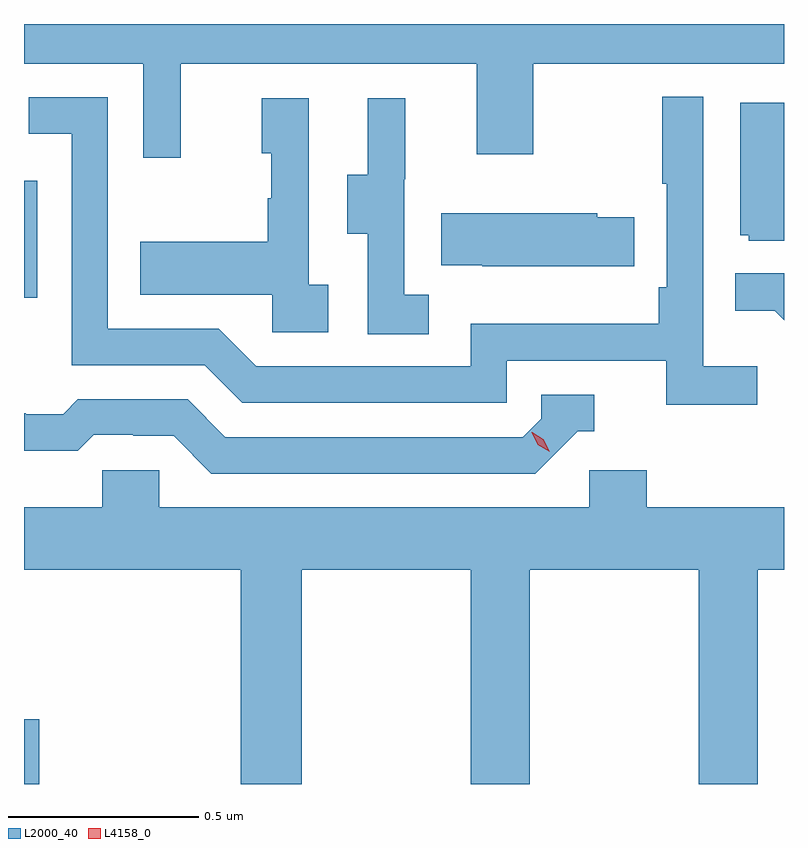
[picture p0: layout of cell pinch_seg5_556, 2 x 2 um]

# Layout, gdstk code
import gdstk
lib = gdstk.Library(unit=1e-6, precision=1e-09)
def R(c, l, rs):  # rectangles x0, y0, x1, y1
    for r in rs: c.add(gdstk.rectangle(r[:2], r[2:], *l))
def P(c, l, *ps):  # polygons
    for p in ps: c.add(gdstk.Polygon(p, *l))
L2000_40 = (2000, 40)
L4158_0 = (4158, 0)

pinch_seg5_556 = lib.new_cell('pinch_seg5_556')
R(pinch_seg5_556, L2000_40, [(969.985,841.544,970.025,841.714), (969.985,842.823,970.02,843.132)])
P(pinch_seg5_556, L2000_40, [(970.397,843.44),(971.177,843.44),(971.177,843.201),(971.325,843.201),(971.325,843.44),(971.985,843.44),(971.985,843.544),(969.985,843.544),(969.985,843.44),(970.299,843.44),(970.299,843.192),(970.397,843.192)],
  [(971.914,842.644),(971.772,842.644),(971.772,843.352),(971.664,843.352),(971.664,843.124),(971.676,843.124),(971.676,842.851),(971.656,842.851),(971.656,842.755),(971.16,842.755),(971.16,842.643),(970.596,842.643),(970.497,842.742),(970.206,842.742),(970.206,843.351),(969.997,843.351),(969.997,843.255),(970.11,843.255),(970.11,842.646),(970.46,842.646),(970.559,842.547),(971.256,842.547),(971.256,842.658),(971.675,842.658),(971.675,842.542),(971.914,842.542)],
  [(970.786,842.858),(970.734,842.858),(970.734,843.349),(970.61,843.349),(970.61,843.204),(970.636,843.204),(970.636,843.086),(970.626,843.086),(970.626,842.971),(970.291,842.971),(970.291,842.831),(970.638,842.831),(970.638,842.733),(970.786,842.733)],
  [(971.05,842.831),(970.986,842.831),(970.986,843.135),(970.988,843.135),(970.988,843.349),(970.889,843.349),(970.889,843.147),(970.835,843.147),(970.835,842.992),(970.89,842.992),(970.89,842.728),(971.05,842.728)],
  [(971.985,843.337),(971.87,843.337),(971.87,842.988),(971.892,842.988),(971.892,842.973),(971.985,842.973)],
  [(971.591,843.036),(971.493,843.036),(971.493,843.046),(971.083,843.046),(971.083,842.909),(971.191,842.909),(971.191,842.906),(971.591,842.906)],
  [(971.985,842.888),(971.857,842.888),(971.857,842.789),(971.961,842.789),(971.985,842.765)],
  [(971.442,842.472),(971.485,842.472),(971.485,842.568),(971.346,842.568),(971.346,842.505),(971.298,842.457),(970.515,842.457),(970.416,842.556),(970.127,842.556),(970.088,842.517),(969.989,842.517),(969.989,842.52),(969.985,842.52),(969.985,842.421),(970.127,842.421),(970.169,842.463),(970.272,842.463),(970.272,842.46),(970.379,842.46),(970.478,842.361),(971.331,842.361)],
  [(970.716,842.108),(971.161,842.108),(971.161,841.544),(971.316,841.544),(971.316,842.108),(971.761,842.108),(971.761,841.544),(971.916,841.544),(971.916,842.108),(971.985,842.108),(971.985,842.272),(971.624,842.272),(971.624,842.37),(971.472,842.37),(971.472,842.272),(970.341,842.272),(970.341,842.37),(970.191,842.37),(970.191,842.272),(969.985,842.272),(969.985,842.108),(970.556,842.108),(970.556,841.544),(970.716,841.544)])
P(pinch_seg5_556, L4158_0, [(971.368,842.418),(971.337,842.437),(971.321,842.47),(971.321,842.47),(971.322,842.47),(971.352,842.451),(971.368,842.418),(971.368,842.418)])

lib.write_gds('pinch_seg5_556.gds')
